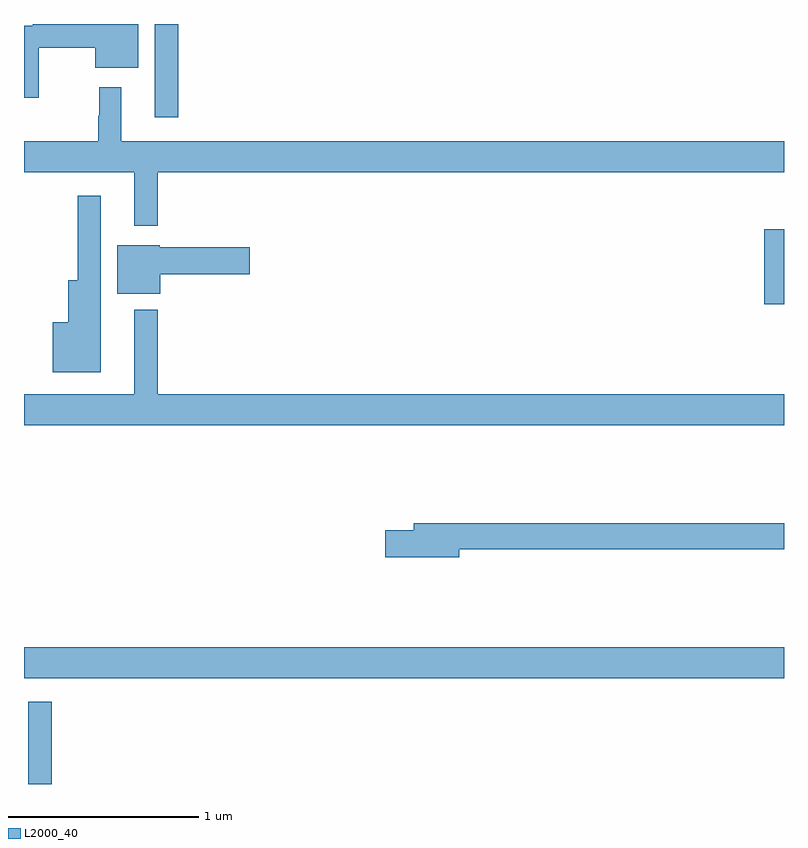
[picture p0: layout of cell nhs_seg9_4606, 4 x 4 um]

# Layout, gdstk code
import gdstk
lib = gdstk.Library(unit=1e-6, precision=1e-09)
def R(c, l, rs):  # rectangles x0, y0, x1, y1
    for r in rs: c.add(gdstk.rectangle(r[:2], r[2:], *l))
def P(c, l, *ps):  # polygons
    for p in ps: c.add(gdstk.Polygon(p, *l))
L2000_40 = (2000, 40)

nhs_seg9_4606 = lib.new_cell('nhs_seg9_4606')
R(nhs_seg9_4606, L2000_40, [(375.023,1226.5,375.145,1226.932), (375,1227.056,379,1227.22), (378.896,1229.025,379,1229.419), (375.689,1230.009,375.811,1230.5)])
P(nhs_seg9_4606, L2000_40, [(375.078,1230.376),(375.374,1230.376),(375.374,1230.269),(375.601,1230.269),(375.601,1230.5),(375.046,1230.5),(375.046,1230.492),(375,1230.492),(375,1230.111),(375.078,1230.111)],
  [(375.703,1229.72),(379,1229.72),(379,1229.884),(375.511,1229.884),(375.511,1230.166),(375.397,1230.166),(375.397,1230.017),(375.39,1230.017),(375.39,1229.884),(375,1229.884),(375,1229.72),(375.581,1229.72),(375.581,1229.439),(375.703,1229.439)],
  [(375.403,1229.596),(375.282,1229.596),(375.282,1229.152),(375.233,1229.152),(375.233,1228.93),(375.152,1228.93),(375.152,1228.667),(375.403,1228.667)],
  [(375.718,1229.183),(376.189,1229.183),(376.189,1229.325),(375.714,1229.325),(375.714,1229.335),(375.491,1229.335),(375.491,1229.081),(375.718,1229.081)],
  [(379,1228.552),(375.703,1228.552),(375.703,1228.996),(375.581,1228.996),(375.581,1228.552),(375,1228.552),(375,1228.388),(379,1228.388)],
  [(377.29,1227.736),(379,1227.736),(379,1227.872),(377.051,1227.872),(377.051,1227.836),(376.902,1227.836),(376.902,1227.694),(377.29,1227.694)])

lib.write_gds('nhs_seg9_4606.gds')
